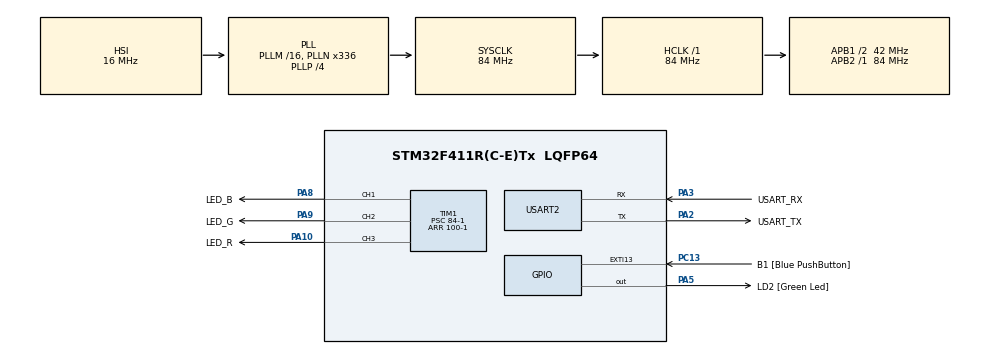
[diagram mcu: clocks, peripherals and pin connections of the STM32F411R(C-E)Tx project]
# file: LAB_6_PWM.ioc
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Mcu.Family=STM32F4
Mcu.Name=STM32F411R(C-E)Tx
Mcu.Package=LQFP64
NVIC.PriorityGroup=NVIC_PRIORITYGROUP_0
NVIC.TIM1_UP_TIM10_IRQn=true\:0\:0\:false\:false\:true\:true\:true\:true
PA10.GPIO_Label=LED_R
PA10.Signal=S_TIM1_CH3
PA13.GPIO_Label=TMS
PA13.Mode=Serial_Wire
PA13.Signal=SYS_JTMS-SWDIO
PA14.GPIO_Label=TCK
PA14.Mode=Serial_Wire
PA14.Signal=SYS_JTCK-SWCLK
PA2.GPIO_Label=USART_TX
PA2.Mode=Asynchronous
PA2.Signal=USART2_TX
PA3.GPIO_Label=USART_RX
PA3.Mode=Asynchronous
PA3.Signal=USART2_RX
PA5.GPIO_Label=LD2 [Green Led]
PA5.Signal=GPIO_Output
PA8.GPIO_Label=LED_B
PA8.Signal=S_TIM1_CH1
PA9.GPIO_Label=LED_G
PA9.Signal=S_TIM1_CH2
PB3.GPIO_Label=SWO
PB3.Signal=SYS_JTDO-SWO
PC13-ANTI_TAMP.GPIO_Label=B1 [Blue PushButton]
PC13-ANTI_TAMP.GPIO_ModeDefaultEXTI=GPIO_MODE_IT_FALLING
PC13-ANTI_TAMP.Signal=GPXTI13
PC14-OSC32_IN.Mode=LSE-External-Oscillator
PC14-OSC32_IN.Signal=RCC_OSC32_IN
PC15-OSC32_OUT.Mode=LSE-External-Oscillator
PC15-OSC32_OUT.Signal=RCC_OSC32_OUT
PH0\ -\ OSC_IN.Mode=HSE-External-Clock-Source
PH0\ -\ OSC_IN.Signal=RCC_OSC_IN
PH1\ -\ OSC_OUT.Mode=HSE-External-Clock-Source
PH1\ -\ OSC_OUT.Signal=RCC_OSC_OUT
ProjectManager.HeapSize=0x200
ProjectManager.StackSize=0x400
ProjectManager.TargetToolchain=STM32CubeIDE
RCC.48MHZClocksFreq_Value=84000000
RCC.AHBFreq_Value=84000000
RCC.APB1CLKDivider=RCC_HCLK_DIV2
RCC.APB1Freq_Value=42000000
RCC.APB1TimFreq_Value=84000000
RCC.APB2Freq_Value=84000000
RCC.APB2TimFreq_Value=84000000
RCC.CortexFreq_Value=84000000
RCC.FLatency-AdvancedSettings=FLASH_LATENCY_2
RCC.HCLKFreq_Value=84000000
RCC.HSE_VALUE=8000000
RCC.HSI_VALUE=16000000
RCC.PLLN=336
RCC.PLLP=RCC_PLLP_DIV4
RCC.SYSCLKFreq_VALUE=84000000
RCC.SYSCLKSource=RCC_SYSCLKSOURCE_PLLCLK
RCC.VCOOutputFreq_Value=336000000
SH.S_TIM1_CH1.0=TIM1_CH1,PWM Generation1 CH1
SH.S_TIM1_CH2.0=TIM1_CH2,PWM Generation2 CH2
SH.S_TIM1_CH3.0=TIM1_CH3,PWM Generation3 CH3
TIM1.Channel-PWM\ Generation1\ CH1=TIM_CHANNEL_1
TIM1.Channel-PWM\ Generation2\ CH2=TIM_CHANNEL_2
TIM1.Channel-PWM\ Generation3\ CH3=TIM_CHANNEL_3
TIM1.Period=100-1
TIM1.Prescaler=84-1
USART2.VirtualMode=VM_ASYNC
VP_TIM1_VS_ClockSourceINT.Mode=Internal
board=NUCLEO-F411RE

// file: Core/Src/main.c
/* USER CODE BEGIN Header */
/**
  ******************************************************************************
  * @file           : main.c
  * @brief          : Main program body
  ******************************************************************************
  * @attention
  *
  * Copyright (c) 2023 STMicroelectronics.
  * All rights reserved.
  *
  * This software is licensed under terms that can be found in the LICENSE file
  * in the root directory of this software component.
  * If no LICENSE file comes with this software, it is provided AS-IS.
  *
  ******************************************************************************
  */
/* USER CODE END Header */
#include "main.h"

/* USER CODE BEGIN Includes */
#include <math.h>
/* USER CODE END Includes */

TIM_HandleTypeDef htim1;

UART_HandleTypeDef huart2;

/* USER CODE BEGIN PV */
int isr_count = 0;
int flag = 0;
float freq = 1.0;
float rf = 0.0;
float gf = 0.0;
float bf = 0.0;
/* USER CODE END PV */

void SystemClock_Config(void);
static void MX_GPIO_Init(void);
static void MX_USART2_UART_Init(void);
static void MX_TIM1_Init(void);
/* USER CODE BEGIN PFP */
void HAL_TIM_PeriodElapsedCallback( TIM_HandleTypeDef *htim );
void HAL_TIM_IC_CaptureCallback( TIM_HandleTypeDef *htim );
/* USER CODE END PFP */

/* USER CODE BEGIN 0 */
void HAL_TIM_IC_CaptureCallback( TIM_HandleTypeDef *htim )
{
	HAL_TIM_PeriodElapsedCallback(htim);
}
void HAL_TIM_PeriodElapsedCallback( TIM_HandleTypeDef *htim )
{
	isr_count++;
	flag = 1;
}
/* USER CODE END 0 */

int main(void)
{

  /* MCU Configuration--------------------------------------------------------*/

  /* Reset of all peripherals, Initializes the Flash interface and the Systick. */
  HAL_Init();

  /* Configure the system clock */
  SystemClock_Config();

  /* Initialize all configured peripherals */
  MX_GPIO_Init();
  MX_USART2_UART_Init();
  MX_TIM1_Init();
  /* USER CODE BEGIN 2 */
  HAL_TIM_Base_Start_IT(&htim1);
  HAL_TIM_PWM_Start(&htim1, TIM_CHANNEL_1);
  HAL_TIM_PWM_Start(&htim1, TIM_CHANNEL_2);
  HAL_TIM_PWM_Start(&htim1, TIM_CHANNEL_3);
  /* USER CODE END 2 */

  /* Infinite loop */
  /* USER CODE BEGIN WHILE */
  while (1)
  {
	//uint32_t duty_r = (isr_count/32) % 100;
	//uint32_t duty_g = (isr_count/20) % 100;
	//uint32_t duty_b = (isr_count/10) % 100;

	if(flag > 0)
	{
		static float t = 0.0f;
		const float offset = M_TWOPI / 3.3f;
		const float half_arr = 50.0f;
		rf = sinf((M_TWOPI * t * freq) + (0 * offset));
		gf = sinf((M_TWOPI * t * freq) + (1 * offset));
		bf = sinf((M_TWOPI * t * freq) + (2 * offset));
		rf = (rf + 1.0) * half_arr;
		gf = (gf + 1.0) * half_arr;
		bf = (bf + 1.0) * half_arr;

		t += 0.0001;

		__HAL_TIM_SET_COMPARE(&htim1, TIM_CHANNEL_1, rf);
		__HAL_TIM_SET_COMPARE(&htim1, TIM_CHANNEL_2, gf);
		__HAL_TIM_SET_COMPARE(&htim1, TIM_CHANNEL_3, bf);

		flag = 0;
	}
    /* USER CODE END WHILE */

  }
}

void SystemClock_Config(void)
{
  RCC_OscInitTypeDef RCC_OscInitStruct = {0};
  RCC_ClkInitTypeDef RCC_ClkInitStruct = {0};

  /** Configure the main internal regulator output voltage
  */
  __HAL_RCC_PWR_CLK_ENABLE();
  __HAL_PWR_VOLTAGESCALING_CONFIG(PWR_REGULATOR_VOLTAGE_SCALE1);

  /** Initializes the RCC Oscillators according to the specified parameters
  * in the RCC_OscInitTypeDef structure.
  */
  RCC_OscInitStruct.OscillatorType = RCC_OSCILLATORTYPE_HSI;
  RCC_OscInitStruct.HSIState = RCC_HSI_ON;
  RCC_OscInitStruct.HSICalibrationValue = RCC_HSICALIBRATION_DEFAULT;
  RCC_OscInitStruct.PLL.PLLState = RCC_PLL_ON;
  RCC_OscInitStruct.PLL.PLLSource = RCC_PLLSOURCE_HSI;
  RCC_OscInitStruct.PLL.PLLM = 16;
  RCC_OscInitStruct.PLL.PLLN = 336;
  RCC_OscInitStruct.PLL.PLLP = RCC_PLLP_DIV4;
  RCC_OscInitStruct.PLL.PLLQ = 4;
  if (HAL_RCC_OscConfig(&RCC_OscInitStruct) != HAL_OK)
  {
    Error_Handler();
  }

  /** Initializes the CPU, AHB and APB buses clocks
  */
  RCC_ClkInitStruct.ClockType = RCC_CLOCKTYPE_HCLK|RCC_CLOCKTYPE_SYSCLK
                              |RCC_CLOCKTYPE_PCLK1|RCC_CLOCKTYPE_PCLK2;
  RCC_ClkInitStruct.SYSCLKSource = RCC_SYSCLKSOURCE_PLLCLK;
  RCC_ClkInitStruct.AHBCLKDivider = RCC_SYSCLK_DIV1;
  RCC_ClkInitStruct.APB1CLKDivider = RCC_HCLK_DIV2;
  RCC_ClkInitStruct.APB2CLKDivider = RCC_HCLK_DIV1;

  if (HAL_RCC_ClockConfig(&RCC_ClkInitStruct, FLASH_LATENCY_2) != HAL_OK)
  {
    Error_Handler();
  }
}

static void MX_TIM1_Init(void)
{

  TIM_ClockConfigTypeDef sClockSourceConfig = {0};
  TIM_MasterConfigTypeDef sMasterConfig = {0};
  TIM_OC_InitTypeDef sConfigOC = {0};
  TIM_BreakDeadTimeConfigTypeDef sBreakDeadTimeConfig = {0};

  htim1.Instance = TIM1;
  htim1.Init.Prescaler = 84-1;
  htim1.Init.CounterMode = TIM_COUNTERMODE_UP;
  htim1.Init.Period = 100-1;
  htim1.Init.ClockDivision = TIM_CLOCKDIVISION_DIV1;
  htim1.Init.RepetitionCounter = 0;
  htim1.Init.AutoReloadPreload = TIM_AUTORELOAD_PRELOAD_DISABLE;
  if (HAL_TIM_Base_Init(&htim1) != HAL_OK)
  {
    Error_Handler();
  }
  sClockSourceConfig.ClockSource = TIM_CLOCKSOURCE_INTERNAL;
  if (HAL_TIM_ConfigClockSource(&htim1, &sClockSourceConfig) != HAL_OK)
  {
    Error_Handler();
  }
  if (HAL_TIM_PWM_Init(&htim1) != HAL_OK)
  {
    Error_Handler();
  }
  sMasterConfig.MasterOutputTrigger = TIM_TRGO_RESET;
  sMasterConfig.MasterSlaveMode = TIM_MASTERSLAVEMODE_DISABLE;
  if (HAL_TIMEx_MasterConfigSynchronization(&htim1, &sMasterConfig) != HAL_OK)
  {
    Error_Handler();
  }
  sConfigOC.OCMode = TIM_OCMODE_PWM1;
  sConfigOC.Pulse = 0;
  sConfigOC.OCPolarity = TIM_OCPOLARITY_HIGH;
  sConfigOC.OCNPolarity = TIM_OCNPOLARITY_HIGH;
  sConfigOC.OCFastMode = TIM_OCFAST_DISABLE;
  sConfigOC.OCIdleState = TIM_OCIDLESTATE_RESET;
  sConfigOC.OCNIdleState = TIM_OCNIDLESTATE_RESET;
  if (HAL_TIM_PWM_ConfigChannel(&htim1, &sConfigOC, TIM_CHANNEL_1) != HAL_OK)
  {
    Error_Handler();
  }
  if (HAL_TIM_PWM_ConfigChannel(&htim1, &sConfigOC, TIM_CHANNEL_2) != HAL_OK)
  {
    Error_Handler();
  }
  if (HAL_TIM_PWM_ConfigChannel(&htim1, &sConfigOC, TIM_CHANNEL_3) != HAL_OK)
  {
    Error_Handler();
  }
  sBreakDeadTimeConfig.OffStateRunMode = TIM_OSSR_DISABLE;
  sBreakDeadTimeConfig.OffStateIDLEMode = TIM_OSSI_DISABLE;
  sBreakDeadTimeConfig.LockLevel = TIM_LOCKLEVEL_OFF;
  sBreakDeadTimeConfig.DeadTime = 0;
  sBreakDeadTimeConfig.BreakState = TIM_BREAK_DISABLE;
  sBreakDeadTimeConfig.BreakPolarity = TIM_BREAKPOLARITY_HIGH;
  sBreakDeadTimeConfig.AutomaticOutput = TIM_AUTOMATICOUTPUT_DISABLE;
  if (HAL_TIMEx_ConfigBreakDeadTime(&htim1, &sBreakDeadTimeConfig) != HAL_OK)
  {
    Error_Handler();
  }
  HAL_TIM_MspPostInit(&htim1);

}

static void MX_USART2_UART_Init(void)
{

  huart2.Instance = USART2;
  huart2.Init.BaudRate = 115200;
  huart2.Init.WordLength = UART_WORDLENGTH_8B;
  huart2.Init.StopBits = UART_STOPBITS_1;
  huart2.Init.Parity = UART_PARITY_NONE;
  huart2.Init.Mode = UART_MODE_TX_RX;
  huart2.Init.HwFlowCtl = UART_HWCONTROL_NONE;
  huart2.Init.OverSampling = UART_OVERSAMPLING_16;
  if (HAL_UART_Init(&huart2) != HAL_OK)
  {
    Error_Handler();
  }

}

static void MX_GPIO_Init(void)
{
  GPIO_InitTypeDef GPIO_InitStruct = {0};

  /* GPIO Ports Clock Enable */
  __HAL_RCC_GPIOC_CLK_ENABLE();
  __HAL_RCC_GPIOH_CLK_ENABLE();
  __HAL_RCC_GPIOA_CLK_ENABLE();
  __HAL_RCC_GPIOB_CLK_ENABLE();

  /*Configure GPIO pin Output Level */
  HAL_GPIO_WritePin(LD2_GPIO_Port, LD2_Pin, GPIO_PIN_RESET);

  /*Configure GPIO pin : B1_Pin */
  GPIO_InitStruct.Pin = B1_Pin;
  GPIO_InitStruct.Mode = GPIO_MODE_IT_FALLING;
  GPIO_InitStruct.Pull = GPIO_NOPULL;
  HAL_GPIO_Init(B1_GPIO_Port, &GPIO_InitStruct);

  /*Configure GPIO pin : LD2_Pin */
  GPIO_InitStruct.Pin = LD2_Pin;
  GPIO_InitStruct.Mode = GPIO_MODE_OUTPUT_PP;
  GPIO_InitStruct.Pull = GPIO_NOPULL;
  GPIO_InitStruct.Speed = GPIO_SPEED_FREQ_LOW;
  HAL_GPIO_Init(LD2_GPIO_Port, &GPIO_InitStruct);

}

void Error_Handler(void)
{
  __disable_irq();
  while (1)
  {
  }
}
